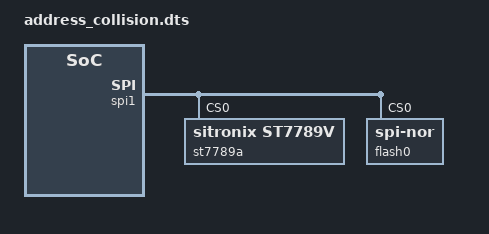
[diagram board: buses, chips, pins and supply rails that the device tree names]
// intentionally incorrect: two children of spi1 both use unit-address @0.
// The devicetree spec requires unique unit-addresses among sibling nodes;
// here one node shadows the other and reg overlap is ambiguous.
&spi1 {
    status = "okay";

    st7789a: st7789@0 {
        compatible = "sitronix,st7789v";
        reg = <0>;
        mdac = <0x68>;
    };

    flash0: flash@0 {
        compatible = "jedec,spi-nor";
        reg = <0>;
    };
};
